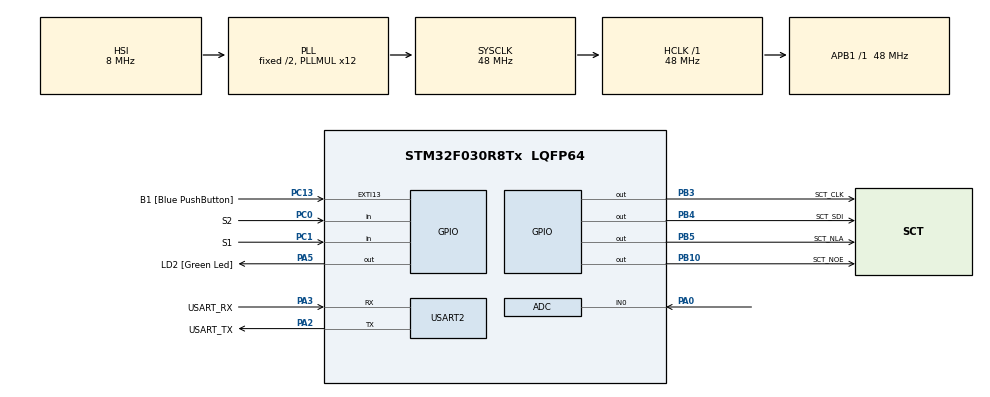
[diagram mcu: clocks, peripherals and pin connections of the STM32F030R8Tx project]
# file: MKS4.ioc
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ADC.ContinuousConvMode=ENABLE
ADC.Overrun=ADC_OVR_DATA_OVERWRITTEN
ADC.SamplingTime=ADC_SAMPLETIME_239CYCLES_5
Mcu.Family=STM32F0
Mcu.Name=STM32F030R8Tx
Mcu.Package=LQFP64
NVIC.ADC1_IRQn=true\:0\:0\:false\:false\:true\:true\:true\:true
PA0.Mode=IN0
PA0.Signal=ADC_IN0
PA13.GPIO_Label=TMS
PA13.Mode=Serial_Wire
PA13.Signal=SYS_SWDIO
PA14.GPIO_Label=TCK
PA14.Mode=Serial_Wire
PA14.Signal=SYS_SWCLK
PA2.GPIO_Label=USART_TX
PA2.GPIO_Mode=GPIO_MODE_AF_PP
PA2.GPIO_PuPd=GPIO_NOPULL
PA2.GPIO_Speed=GPIO_SPEED_FREQ_LOW
PA2.Mode=Asynchronous
PA2.Signal=USART2_TX
PA3.GPIO_Label=USART_RX
PA3.GPIO_Mode=GPIO_MODE_AF_PP
PA3.GPIO_PuPd=GPIO_NOPULL
PA3.GPIO_Speed=GPIO_SPEED_FREQ_LOW
PA3.Mode=Asynchronous
PA3.Signal=USART2_RX
PA5.GPIO_Label=LD2 [Green Led]
PA5.GPIO_Mode=GPIO_MODE_OUTPUT_PP
PA5.GPIO_PuPd=GPIO_NOPULL
PA5.GPIO_Speed=GPIO_SPEED_FREQ_LOW
PA5.Signal=GPIO_Output
PB10.GPIO_Label=SCT_NOE
PB10.Signal=GPIO_Output
PB3.GPIO_Label=SCT_CLK
PB3.Signal=GPIO_Output
PB4.GPIO_Label=SCT_SDI
PB4.Signal=GPIO_Output
PB5.GPIO_Label=SCT_NLA
PB5.Signal=GPIO_Output
PC0.GPIO_Label=S2
PC0.GPIO_PuPd=GPIO_PULLUP
PC0.Signal=GPIO_Input
PC1.GPIO_Label=S1
PC1.GPIO_PuPd=GPIO_PULLUP
PC1.Signal=GPIO_Input
PC13.GPIO_Label=B1 [Blue PushButton]
PC13.GPIO_ModeDefaultEXTI=GPIO_MODE_IT_FALLING
PC13.Signal=GPXTI13
PC14-OSC32_IN.Mode=LSE-External-Oscillator
PC14-OSC32_IN.Signal=RCC_OSC32_IN
PC15-OSC32_OUT.Mode=LSE-External-Oscillator
PC15-OSC32_OUT.Signal=RCC_OSC32_OUT
PF0-OSC_IN.Mode=HSE-External-Clock-Source
PF0-OSC_IN.Signal=RCC_OSC_IN
PF1-OSC_OUT.Signal=RCC_OSC_OUT
ProjectManager.HeapSize=0x200
ProjectManager.StackSize=0x400
ProjectManager.TargetToolchain=STM32CubeIDE
RCC.AHBFreq_Value=48000000
RCC.APB1Freq_Value=48000000
RCC.APB1TimFreq_Value=48000000
RCC.HCLKFreq_Value=48000000
RCC.PLLMUL=RCC_PLL_MUL12
RCC.SYSCLKFreq_VALUE=48000000
RCC.SYSCLKSource=RCC_SYSCLKSOURCE_PLLCLK
USART2.VirtualMode-Asynchronous=VM_ASYNC
VP_ADC_TempSens_Input.Mode=IN-TempSens
VP_ADC_Vref_Input.Mode=IN-Vrefint
board=NUCLEO-F030R8

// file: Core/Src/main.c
/* USER CODE BEGIN Header */
/**
  ******************************************************************************
  * @file           : main.c
  * @brief          : Main program body
  ******************************************************************************
  * @attention
  *
  * Copyright (c) 2025 STMicroelectronics.
  * All rights reserved.
  *
  * This software is licensed under terms that can be found in the LICENSE file
  * in the root directory of this software component.
  * If no LICENSE file comes with this software, it is provided AS-IS.
  *
  ******************************************************************************
  */
/* USER CODE END Header */
#include "main.h"

/* USER CODE BEGIN Includes */
#include "sct.h"
/* USER CODE END Includes */

/* USER CODE BEGIN PD */
#define ADC_Q 7

/* Temperature sensor calibration value address */
#define TEMP110_CAL_ADDR ((uint16_t*) ((uint32_t) 0x1FFFF7C2))
#define TEMP30_CAL_ADDR ((uint16_t*) ((uint32_t) 0x1FFFF7B8))
/* Internal voltage reference calibration value address */
#define VREFINT_CAL_ADDR ((uint16_t*) ((uint32_t) 0x1FFFF7BA))

/* USER CODE END PD */

ADC_HandleTypeDef hadc;

UART_HandleTypeDef huart2;

void SystemClock_Config(void);
static void MX_GPIO_Init(void);
static void MX_USART2_UART_Init(void);
static void MX_ADC_Init(void);
static enum { SHOW_POT, SHOW_VOLT, SHOW_TEMP } state = SHOW_POT;

/* USER CODE BEGIN 0 */

//global variables for values given by ADC
static volatile uint32_t raw_pot;	//potentiometer
static volatile uint32_t raw_temp;	//temperature
static volatile uint32_t raw_volt;	//voltage reference
static uint32_t current_time;

void buttons(void){
	if(HAL_GPIO_ReadPin(S1_GPIO_Port, S1_Pin) && (HAL_GPIO_ReadPin(S2_GPIO_Port, S2_Pin) == 0)) {	//voltage
		state = SHOW_VOLT;
		current_time = HAL_GetTick();

	}else if(HAL_GPIO_ReadPin(S2_GPIO_Port, S2_Pin) && (HAL_GPIO_ReadPin(S1_GPIO_Port, S1_Pin) == 0)) {	//temperature
		state = SHOW_TEMP;
		current_time = HAL_GetTick();
	}
}

/* USER CODE END 0 */

int main(void)
{

  /* MCU Configuration--------------------------------------------------------*/

  /* Reset of all peripherals, Initializes the Flash interface and the Systick. */
  HAL_Init();

  /* Configure the system clock */
  SystemClock_Config();

  /* Initialize all configured peripherals */
  MX_GPIO_Init();
  MX_USART2_UART_Init();
  MX_ADC_Init();
  /* USER CODE BEGIN 2 */
  HAL_ADCEx_Calibration_Start(&hadc);
  HAL_ADC_Start_IT(&hadc);
  sct_init();

  /* USER CODE END 2 */

  /* Infinite loop */
  /* USER CODE BEGIN WHILE */
  while (1)
  {
	buttons();

	uint16_t value = 0;
	uint8_t bargraph = ((raw_pot*501)/4096)*9/501;		//convert 0-500 value to bargraph value

	switch(state){
		case SHOW_POT:
			value = (raw_pot*501)/4096;	//convert values from ADC potentiometer
			break;
		case SHOW_VOLT:
			value = 330 * (*VREFINT_CAL_ADDR) / raw_volt; //calculate voltage
			break;

		case SHOW_TEMP:
			int32_t temperature = (raw_temp - (int32_t)(*TEMP30_CAL_ADDR));
			temperature = temperature * (int32_t)(110 - 30);
			temperature = temperature / (int32_t)(*TEMP110_CAL_ADDR - *TEMP30_CAL_ADDR);
			temperature = temperature + 30;
			value = temperature;
			break;

	}

	sct_value(value, bargraph);

	//if(display_until_ticks < HAL_GetTicks() && state != SHOW_POT) {
	if(((HAL_GetTick() - current_time) > 1000)  && state != SHOW_POT) {
		state = SHOW_POT;
	}

    /* USER CODE END WHILE */

    /* USER CODE BEGIN 3 */

	HAL_Delay(50);
  }
  /* USER CODE END 3 */
}

void SystemClock_Config(void)
{
  RCC_OscInitTypeDef RCC_OscInitStruct = {0};
  RCC_ClkInitTypeDef RCC_ClkInitStruct = {0};

  /** Initializes the RCC Oscillators according to the specified parameters
  * in the RCC_OscInitTypeDef structure.
  */
  RCC_OscInitStruct.OscillatorType = RCC_OSCILLATORTYPE_HSI|RCC_OSCILLATORTYPE_HSI14;
  RCC_OscInitStruct.HSIState = RCC_HSI_ON;
  RCC_OscInitStruct.HSI14State = RCC_HSI14_ON;
  RCC_OscInitStruct.HSICalibrationValue = RCC_HSICALIBRATION_DEFAULT;
  RCC_OscInitStruct.HSI14CalibrationValue = 16;
  RCC_OscInitStruct.PLL.PLLState = RCC_PLL_ON;
  RCC_OscInitStruct.PLL.PLLSource = RCC_PLLSOURCE_HSI;
  RCC_OscInitStruct.PLL.PLLMUL = RCC_PLL_MUL12;
  RCC_OscInitStruct.PLL.PREDIV = RCC_PREDIV_DIV1;
  if (HAL_RCC_OscConfig(&RCC_OscInitStruct) != HAL_OK)
  {
    Error_Handler();
  }

  /** Initializes the CPU, AHB and APB buses clocks
  */
  RCC_ClkInitStruct.ClockType = RCC_CLOCKTYPE_HCLK|RCC_CLOCKTYPE_SYSCLK
                              |RCC_CLOCKTYPE_PCLK1;
  RCC_ClkInitStruct.SYSCLKSource = RCC_SYSCLKSOURCE_PLLCLK;
  RCC_ClkInitStruct.AHBCLKDivider = RCC_SYSCLK_DIV1;
  RCC_ClkInitStruct.APB1CLKDivider = RCC_HCLK_DIV1;

  if (HAL_RCC_ClockConfig(&RCC_ClkInitStruct, FLASH_LATENCY_1) != HAL_OK)
  {
    Error_Handler();
  }
}

static void MX_ADC_Init(void)
{

  ADC_ChannelConfTypeDef sConfig = {0};

  /** Configure the global features of the ADC (Clock, Resolution, Data Alignment and number of conversion)
  */
  hadc.Instance = ADC1;
  hadc.Init.ClockPrescaler = ADC_CLOCK_ASYNC_DIV1;
  hadc.Init.Resolution = ADC_RESOLUTION_12B;
  hadc.Init.DataAlign = ADC_DATAALIGN_RIGHT;
  hadc.Init.ScanConvMode = ADC_SCAN_DIRECTION_FORWARD;
  hadc.Init.EOCSelection = ADC_EOC_SINGLE_CONV;
  hadc.Init.LowPowerAutoWait = DISABLE;
  hadc.Init.LowPowerAutoPowerOff = DISABLE;
  hadc.Init.ContinuousConvMode = ENABLE;
  hadc.Init.DiscontinuousConvMode = DISABLE;
  hadc.Init.ExternalTrigConv = ADC_SOFTWARE_START;
  hadc.Init.ExternalTrigConvEdge = ADC_EXTERNALTRIGCONVEDGE_NONE;
  hadc.Init.DMAContinuousRequests = DISABLE;
  hadc.Init.Overrun = ADC_OVR_DATA_OVERWRITTEN;
  if (HAL_ADC_Init(&hadc) != HAL_OK)
  {
    Error_Handler();
  }

  /** Configure for the selected ADC regular channel to be converted.
  */
  sConfig.Channel = ADC_CHANNEL_0;
  sConfig.Rank = ADC_RANK_CHANNEL_NUMBER;
  sConfig.SamplingTime = ADC_SAMPLETIME_239CYCLES_5;
  if (HAL_ADC_ConfigChannel(&hadc, &sConfig) != HAL_OK)
  {
    Error_Handler();
  }

  /** Configure for the selected ADC regular channel to be converted.
  */
  sConfig.Channel = ADC_CHANNEL_TEMPSENSOR;
  if (HAL_ADC_ConfigChannel(&hadc, &sConfig) != HAL_OK)
  {
    Error_Handler();
  }

  /** Configure for the selected ADC regular channel to be converted.
  */
  sConfig.Channel = ADC_CHANNEL_VREFINT;
  if (HAL_ADC_ConfigChannel(&hadc, &sConfig) != HAL_OK)
  {
    Error_Handler();
  }

}

static void MX_USART2_UART_Init(void)
{

  huart2.Instance = USART2;
  huart2.Init.BaudRate = 38400;
  huart2.Init.WordLength = UART_WORDLENGTH_8B;
  huart2.Init.StopBits = UART_STOPBITS_1;
  huart2.Init.Parity = UART_PARITY_NONE;
  huart2.Init.Mode = UART_MODE_TX_RX;
  huart2.Init.HwFlowCtl = UART_HWCONTROL_NONE;
  huart2.Init.OverSampling = UART_OVERSAMPLING_16;
  huart2.Init.OneBitSampling = UART_ONE_BIT_SAMPLE_DISABLE;
  huart2.AdvancedInit.AdvFeatureInit = UART_ADVFEATURE_NO_INIT;
  if (HAL_UART_Init(&huart2) != HAL_OK)
  {
    Error_Handler();
  }

}

static void MX_GPIO_Init(void)
{
  GPIO_InitTypeDef GPIO_InitStruct = {0};

  /* GPIO Ports Clock Enable */
  __HAL_RCC_GPIOC_CLK_ENABLE();
  __HAL_RCC_GPIOF_CLK_ENABLE();
  __HAL_RCC_GPIOA_CLK_ENABLE();
  __HAL_RCC_GPIOB_CLK_ENABLE();

  /*Configure GPIO pin Output Level */
  HAL_GPIO_WritePin(LD2_GPIO_Port, LD2_Pin, GPIO_PIN_RESET);

  /*Configure GPIO pin Output Level */
  HAL_GPIO_WritePin(GPIOB, SCT_NOE_Pin|SCT_CLK_Pin|SCT_SDI_Pin|SCT_NLA_Pin, GPIO_PIN_RESET);

  /*Configure GPIO pin : B1_Pin */
  GPIO_InitStruct.Pin = B1_Pin;
  GPIO_InitStruct.Mode = GPIO_MODE_IT_FALLING;
  GPIO_InitStruct.Pull = GPIO_NOPULL;
  HAL_GPIO_Init(B1_GPIO_Port, &GPIO_InitStruct);

  /*Configure GPIO pins : S2_Pin S1_Pin */
  GPIO_InitStruct.Pin = S2_Pin|S1_Pin;
  GPIO_InitStruct.Mode = GPIO_MODE_INPUT;
  GPIO_InitStruct.Pull = GPIO_PULLUP;
  HAL_GPIO_Init(GPIOC, &GPIO_InitStruct);

  /*Configure GPIO pin : LD2_Pin */
  GPIO_InitStruct.Pin = LD2_Pin;
  GPIO_InitStruct.Mode = GPIO_MODE_OUTPUT_PP;
  GPIO_InitStruct.Pull = GPIO_NOPULL;
  GPIO_InitStruct.Speed = GPIO_SPEED_FREQ_LOW;
  HAL_GPIO_Init(LD2_GPIO_Port, &GPIO_InitStruct);

  /*Configure GPIO pins : SCT_NOE_Pin SCT_CLK_Pin SCT_SDI_Pin SCT_NLA_Pin */
  GPIO_InitStruct.Pin = SCT_NOE_Pin|SCT_CLK_Pin|SCT_SDI_Pin|SCT_NLA_Pin;
  GPIO_InitStruct.Mode = GPIO_MODE_OUTPUT_PP;
  GPIO_InitStruct.Pull = GPIO_NOPULL;
  GPIO_InitStruct.Speed = GPIO_SPEED_FREQ_LOW;
  HAL_GPIO_Init(GPIOB, &GPIO_InitStruct);

}

/* USER CODE BEGIN 4 */
void HAL_ADC_ConvCpltCallback(ADC_HandleTypeDef* hadc)	//call back called after completed ADC conversion
{
 //raw_pot = HAL_ADC_GetValue(hadc);		//save ADC value after conversion into global variable
 //exponential smoothing:
 static uint32_t avg_pot;
 static uint8_t channel = 0;

 switch (channel) {
 	 case 0:
 		 raw_pot = avg_pot >> ADC_Q;
 		 avg_pot -= raw_pot;
 		 avg_pot += HAL_ADC_GetValue(hadc);
 		 break;

 	 case 1:
 		 raw_temp = HAL_ADC_GetValue(hadc);
 		 break;

 	 case 2:
 		 raw_volt = HAL_ADC_GetValue(hadc);
 		 break;
 }

 if (__HAL_ADC_GET_FLAG(hadc, ADC_FLAG_EOS)) channel = 0;	//test if all 3 values were read
 else channel++;

}

/* USER CODE END 4 */

void Error_Handler(void)
{
  __disable_irq();
  while (1)
  {
  }
}
